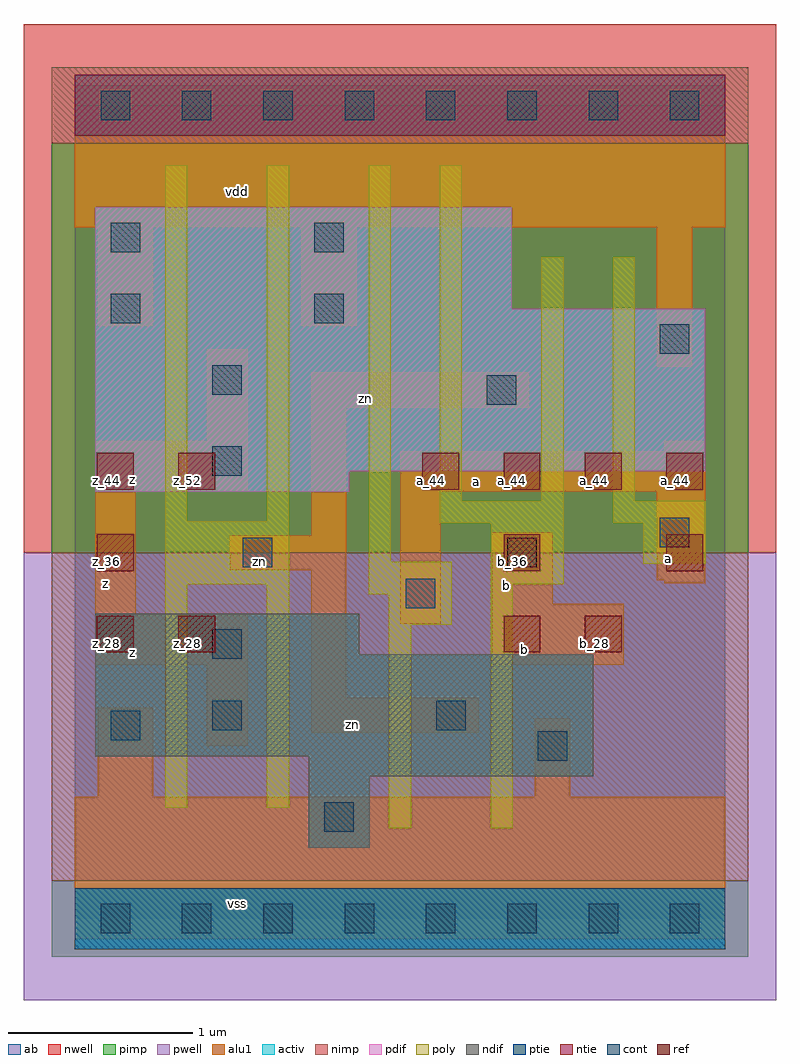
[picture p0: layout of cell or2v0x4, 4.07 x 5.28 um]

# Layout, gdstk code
import gdstk
lib = gdstk.Library(unit=1e-6, precision=2.5e-09)
def R(c, l, rs):  # rectangles x0, y0, x1, y1
    for r in rs: c.add(gdstk.rectangle(r[:2], r[2:], *l))
def A(c, l, x, y, w, h, nx, ny, dx, dy):  # array of equal rectangles
    R(c, l, [(x+i*dx, y+j*dy, x+i*dx+w, y+j*dy+h) for i in range(nx) for j in range(ny)])
ndif = (3, 0)
pdif = (4, 0)
ntie = (5, 0)
ptie = (6, 0)
ref = (24, 0)
cont = (25, 0)
pwell = (41, 0)
nwell = (42, 0)
activ = (43, 0)
pimp = (44, 0)
nimp = (45, 0)
poly = (46, 0)
alu1 = (49, 0)
ab = (63, 0)

or2v0x4 = lib.new_cell('or2v0x4')
R(or2v0x4, ndif, [(1.265,0.385,1.595,0.77), (1.265,0.77,2.805,0.88), (0.11,0.88,2.805,1.43), (0.11,1.43,1.54,1.65)])
R(or2v0x4, pdif, [(0.11,2.31,1.485,2.42), (0.11,2.42,3.41,3.3), (0.11,3.3,2.365,3.85)])
R(or2v0x4, ntie, [(0,4.235,3.52,4.565)])
R(or2v0x4, ptie, [(0,-0.165,3.52,0.165)])
A(or2v0x4, ref, 0.12, 1.44, 0.2, 0.2, 1, 3, 0, 0.44)
A(or2v0x4, ref, 1.88, 2.32, 0.2, 0.2, 4, 1, 0.44, 0)
R(or2v0x4, ref, [(0.56,1.44,0.76,1.64), (2.32,1.44,2.52,1.64), (2.76,1.44,2.96,1.64), (2.32,1.88,2.52,2.08), (3.2,1.88,3.4,2.08), (0.56,2.32,0.76,2.52)])
A(or2v0x4, cont, 0.14, -0.08, 0.16, 0.16, 8, 2, 0.44, 4.4)
R(or2v0x4, cont, [(1.35,0.47,1.51,0.63), (2.505,0.855,2.665,1.015), (0.195,0.965,0.355,1.125), (0.745,1.02,0.905,1.18), (1.955,1.02,2.115,1.18), (0.745,1.405,0.905,1.565), (1.79,1.68,1.95,1.84), (0.91,1.9,1.07,2.06), (2.34,1.9,2.5,2.06), (3.165,2.01,3.325,2.17), (0.745,2.395,0.905,2.555), (2.23,2.78,2.39,2.94), (0.745,2.835,0.905,2.995), (3.165,3.055,3.325,3.215), (0.195,3.22,0.355,3.38), (1.295,3.22,1.455,3.38), (0.195,3.605,0.355,3.765), (1.295,3.605,1.455,3.765)])
R(or2v0x4, pwell, [(-0.275,-0.44,3.795,1.98)])
R(or2v0x4, nwell, [(-0.275,1.98,3.795,4.84)])
R(or2v0x4, activ, [(0,-0.165,3.52,0.165), (1.265,0.385,1.595,0.77), (1.265,0.77,2.805,0.88), (0.11,0.88,2.805,1.43), (0.11,1.43,1.54,1.65), (0.11,2.31,1.485,2.42), (0.11,2.42,3.41,3.3), (0.11,3.3,2.365,3.85), (0,4.235,3.52,4.565)])
R(or2v0x4, pimp, [(-0.125,-0.205,3.645,0.205), (-0.125,1.98,3.645,4.195)])
R(or2v0x4, nimp, [(-0.125,0.205,3.645,1.98), (-0.125,4.195,3.645,4.605)])
R(or2v0x4, poly, [(1.7,0.49,1.82,1.59), (2.25,0.49,2.37,1.81), (0.49,0.6,0.61,1.81), (1.04,0.6,1.16,1.81), (1.7,1.59,2.04,1.755), (1.59,1.755,2.04,1.93), (0.49,1.81,1.16,2.15), (2.25,1.81,2.645,2.14), (3.075,1.92,3.415,2.14), (1.59,1.93,1.71,4.075), (1.975,2.14,2.645,2.26), (2.91,2.14,3.415,2.26), (0.49,2.15,0.61,4.075), (1.04,2.15,1.16,4.075), (1.975,2.26,2.095,4.075), (2.525,2.26,2.645,3.58), (2.91,2.26,3.03,3.58)])
R(or2v0x4, alu1, [(0,-0.11,3.52,0.66), (0.125,0.66,0.425,1.14), (2.49,0.66,2.68,1.085), (0.715,0.935,0.935,1.375), (1.28,1.005,2.185,1.195), (1.28,1.195,1.47,1.885), (0.11,1.375,0.935,1.65), (2.255,1.375,2.97,1.705), (1.76,1.595,1.98,2.31), (0.11,1.65,0.33,2.31), (2.255,1.705,2.585,2.09), (3.19,1.815,3.41,1.83), (3.15,1.83,3.41,2.31), (0.84,1.885,1.47,2.075), (1.28,2.075,1.47,2.765), (0.11,2.31,0.935,2.585), (1.76,2.31,3.41,2.53), (3.19,2.53,3.41,2.585), (0.715,2.585,0.935,3.08), (1.28,2.765,2.46,2.955), (3.15,2.985,3.34,3.74), (0.125,3.205,0.425,3.74), (1.225,3.205,1.525,3.74), (0,3.74,3.52,4.51)])
R(or2v0x4, ab, [(0,0,3.52,4.4)])
or2v0x4.add(gdstk.Label('vss', (0.88,0.0825), layer=49, texttype=0))
or2v0x4.add(gdstk.Label('zn', (1.505,1.0525), layer=49, texttype=0))
or2v0x4.add(gdstk.Label('b', (2.4325,1.4575), layer=49, texttype=0))
or2v0x4.add(gdstk.Label('a', (3.215,1.95), layer=49, texttype=0))
or2v0x4.add(gdstk.Label('b', (2.3375,1.8), layer=49, texttype=0))
or2v0x4.add(gdstk.Label('a', (2.1725,2.365), layer=49, texttype=0))
or2v0x4.add(gdstk.Label('z', (0.315,1.4425), layer=49, texttype=0))
or2v0x4.add(gdstk.Label('zn', (0.9975,1.9325), layer=49, texttype=0))
or2v0x4.add(gdstk.Label('z', (0.165,1.815), layer=49, texttype=0))
or2v0x4.add(gdstk.Label('zn', (1.575,2.8125), layer=49, texttype=0))
or2v0x4.add(gdstk.Label('z', (0.315,2.3775), layer=49, texttype=0))
or2v0x4.add(gdstk.Label('vdd', (0.88,3.9325), layer=49, texttype=0))
or2v0x4.add(gdstk.Label('z_28', (0.61,1.49), layer=24, texttype=0))
or2v0x4.add(gdstk.Label('z_52', (0.61,2.37), layer=24, texttype=0))
or2v0x4.add(gdstk.Label('a_44', (1.93,2.37), layer=24, texttype=0))
or2v0x4.add(gdstk.Label('z_28', (0.17,1.49), layer=24, texttype=0))
or2v0x4.add(gdstk.Label('z_36', (0.17,1.93), layer=24, texttype=0))
or2v0x4.add(gdstk.Label('z_44', (0.17,2.37), layer=24, texttype=0))
or2v0x4.add(gdstk.Label('b_28', (2.37,1.49), layer=24, texttype=0))
or2v0x4.add(gdstk.Label('b_36', (2.37,1.93), layer=24, texttype=0))
or2v0x4.add(gdstk.Label('a_44', (2.37,2.37), layer=24, texttype=0))
or2v0x4.add(gdstk.Label('b_28', (2.81,1.49), layer=24, texttype=0))
or2v0x4.add(gdstk.Label('a_44', (2.81,2.37), layer=24, texttype=0))
or2v0x4.add(gdstk.Label('a_36', (3.25,1.93), layer=24, texttype=0))
or2v0x4.add(gdstk.Label('a_44', (3.25,2.37), layer=24, texttype=0))

lib.write_gds('or2v0x4.gds')
